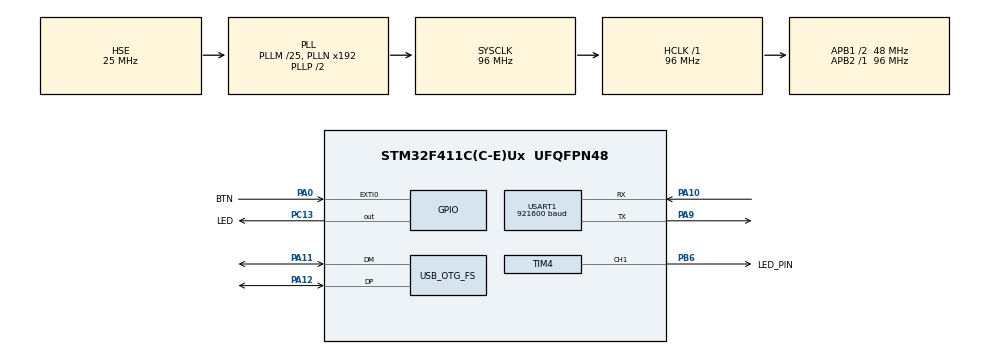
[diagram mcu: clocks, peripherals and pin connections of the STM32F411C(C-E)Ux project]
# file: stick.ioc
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Dma.Request0=TIM4_CH1
Dma.TIM4_CH1.0.Direction=DMA_MEMORY_TO_PERIPH
Dma.TIM4_CH1.0.FIFOMode=DMA_FIFOMODE_DISABLE
Dma.TIM4_CH1.0.Instance=DMA1_Stream0
Dma.TIM4_CH1.0.MemDataAlignment=DMA_MDATAALIGN_HALFWORD
Dma.TIM4_CH1.0.MemInc=DMA_MINC_ENABLE
Dma.TIM4_CH1.0.Mode=DMA_CIRCULAR
Dma.TIM4_CH1.0.PeriphDataAlignment=DMA_PDATAALIGN_HALFWORD
Dma.TIM4_CH1.0.PeriphInc=DMA_PINC_DISABLE
Dma.TIM4_CH1.0.Priority=DMA_PRIORITY_LOW
Mcu.Family=STM32F4
Mcu.Name=STM32F411C(C-E)Ux
Mcu.Package=UFQFPN48
Mcu.UserConstants=LED_CNT,120
NVIC.DMA1_Stream0_IRQn=true\:0\:0\:false\:false\:true\:false\:true\:true
NVIC.EXTI0_IRQn=true\:0\:0\:false\:false\:true\:true\:true\:true
NVIC.OTG_FS_IRQn=true\:0\:0\:false\:false\:true\:false\:true\:true
NVIC.PriorityGroup=NVIC_PRIORITYGROUP_4
PA0-WKUP.GPIO_Label=BTN
PA0-WKUP.GPIO_ModeDefaultEXTI=GPIO_MODE_IT_RISING_FALLING
PA0-WKUP.GPIO_PuPd=GPIO_PULLUP
PA0-WKUP.Signal=GPXTI0
PA10.Mode=Asynchronous
PA10.Signal=USART1_RX
PA11.Mode=Device_Only
PA11.Signal=USB_OTG_FS_DM
PA12.Mode=Device_Only
PA12.Signal=USB_OTG_FS_DP
PA13.Mode=Trace_Asynchronous_SW
PA13.Signal=SYS_JTMS-SWDIO
PA14.Mode=Trace_Asynchronous_SW
PA14.Signal=SYS_JTCK-SWCLK
PA9.Mode=Asynchronous
PA9.Signal=USART1_TX
PB3.Mode=Trace_Asynchronous_SW
PB3.Signal=SYS_JTDO-SWO
PB6.GPIO_Label=LED_PIN
PB6.Signal=S_TIM4_CH1
PC13-ANTI_TAMP.GPIO_Label=LED
PC13-ANTI_TAMP.Signal=GPIO_Output
PH0\ -\ OSC_IN.Mode=HSE-External-Oscillator
PH0\ -\ OSC_IN.Signal=RCC_OSC_IN
PH1\ -\ OSC_OUT.Mode=HSE-External-Oscillator
PH1\ -\ OSC_OUT.Signal=RCC_OSC_OUT
ProjectManager.HeapSize=0x200
ProjectManager.StackSize=0x400
ProjectManager.TargetToolchain=STM32CubeIDE
RCC.48MHZClocksFreq_Value=48000000
RCC.AHBFreq_Value=96000000
RCC.APB1CLKDivider=RCC_HCLK_DIV2
RCC.APB1Freq_Value=48000000
RCC.APB1TimFreq_Value=96000000
RCC.APB2Freq_Value=96000000
RCC.APB2TimFreq_Value=96000000
RCC.CortexFreq_Value=96000000
RCC.HCLKFreq_Value=96000000
RCC.HSE_VALUE=25000000
RCC.HSI_VALUE=16000000
RCC.LSE_VALUE=32768
RCC.PLLM=25
RCC.SYSCLKFreq_VALUE=96000000
RCC.SYSCLKSource=RCC_SYSCLKSOURCE_PLLCLK
RCC.VCOOutputFreq_Value=192000000
SH.S_TIM4_CH1.0=TIM4_CH1,PWM Generation1 CH1
TIM4.Channel-PWM\ Generation1\ CH1=TIM_CHANNEL_1
TIM4.Period=LED_CNT
USART1.BaudRate=921600
USART1.VirtualMode=VM_ASYNC
USB_DEVICE.CLASS_NAME_FS=HID
USB_DEVICE.MANUFACTURER_STRING=STM32World
USB_DEVICE.PRODUCT_STRING_HID_FS=Stick HID
USB_DEVICE.VirtualMode=Hid
USB_DEVICE.VirtualModeFS=Hid_FS
USB_OTG_FS.VirtualMode=Device_Only
VP_TIM4_VS_ClockSourceINT.Mode=Internal
VP_USB_DEVICE_VS_USB_DEVICE_HID_FS.Mode=HID_FS
board=custom

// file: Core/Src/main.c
/* USER CODE BEGIN Header */
/**
 ******************************************************************************
 * @file           : main.c
 * @brief          : Main program body
 ******************************************************************************
 * @attention
 *
 * Copyright (c) 2024 STMicroelectronics.
 * All rights reserved.
 *
 * This software is licensed under terms that can be found in the LICENSE file
 * in the root directory of this software component.
 * If no LICENSE file comes with this software, it is provided AS-IS.
 *
 ******************************************************************************
 */
/* USER CODE END Header */
#include "main.h"
#include "usb_device.h"

/* USER CODE BEGIN Includes */
#include "ws2812b.h"
/* USER CODE END Includes */

TIM_HandleTypeDef htim4;
DMA_HandleTypeDef hdma_tim4_ch1;

UART_HandleTypeDef huart1;

void SystemClock_Config(void);
static void MX_GPIO_Init(void);
static void MX_DMA_Init(void);
static void MX_TIM4_Init(void);
static void MX_USART1_UART_Init(void);

/* USER CODE BEGIN 0 */

// Send printf to uart1
int _write(int fd, char *ptr, int len) {
    HAL_StatusTypeDef hstatus;

    if (fd == 1 || fd == 2) {
        hstatus = HAL_UART_Transmit(&huart1, (uint8_t*) ptr, len, HAL_MAX_DELAY);
        if (hstatus == HAL_OK)
            return len;
        else
            return -1;
    }
    return -1;
}

void HAL_GPIO_EXTI_Callback(uint16_t GPIO_Pin) {

    static uint32_t btn_time = 0;
    static uint32_t btn_count = 0;

    uint32_t new_time = HAL_GetTick();
    uint32_t time_diff = new_time - btn_time;

    if (GPIO_Pin == BTN_Pin) {
        if (HAL_GPIO_ReadPin(BTN_GPIO_Port, BTN_Pin) == GPIO_PIN_RESET) {
            HAL_ResumeTick();
            DBG("Btn Press (released for %lu ms)\n", time_diff);
        } else {
            DBG("Btn Release (pressed for %lu ms)\n", time_diff);

        }

        btn_time = new_time;

    }
}

/* USER CODE END 0 */

int main(void)
{

  /* MCU Configuration--------------------------------------------------------*/

  /* Reset of all peripherals, Initializes the Flash interface and the Systick. */
  HAL_Init();

  /* Configure the system clock */
  SystemClock_Config();

  /* Initialize all configured peripherals */
  MX_GPIO_Init();
  MX_DMA_Init();
  MX_TIM4_Init();
  MX_USART1_UART_Init();
  MX_USB_DEVICE_Init();
  /* USER CODE BEGIN 2 */

    DBG("\n\n\n\n--------\nStarting\n");

    ws2812b_init(&htim4, TIM_CHANNEL_1, LEDS);
    zeroLedValues();

  /* USER CODE END 2 */

  /* Infinite loop */
  /* USER CODE BEGIN WHILE */

    uint32_t last_tick = 0, last_blink = 0, last_sleep = 0, now = 0;

    while (1) {

        now = HAL_GetTick();

        if (now - last_blink >= 500) {
            HAL_GPIO_TogglePin(LED_GPIO_Port, LED_Pin);
            last_blink = now;
        }

        if (now - last_tick >= 1000) {
            DBG("Tick %lu\n", now / 1000);
            last_tick = now;
        }

        if (now - last_sleep >= 10000) {
            DBG("Going to sleep\n");
            HAL_GPIO_WritePin(LED_GPIO_Port, LED_Pin, GPIO_PIN_SET);
            HAL_SuspendTick();
            //HAL_PWR_EnterSLEEPMode(PWR_MAINREGULATOR_ON, PWR_SLEEPENTRY_WFI);
            HAL_PWR_EnterSLEEPMode(PWR_LOWPOWERREGULATOR_ON, PWR_SLEEPENTRY_WFI);
            last_sleep = HAL_GetTick();
        }

    /* USER CODE END WHILE */

    }
}

void SystemClock_Config(void)
{
  RCC_OscInitTypeDef RCC_OscInitStruct = {0};
  RCC_ClkInitTypeDef RCC_ClkInitStruct = {0};

  /** Configure the main internal regulator output voltage
  */
  __HAL_RCC_PWR_CLK_ENABLE();
  __HAL_PWR_VOLTAGESCALING_CONFIG(PWR_REGULATOR_VOLTAGE_SCALE1);

  /** Initializes the RCC Oscillators according to the specified parameters
  * in the RCC_OscInitTypeDef structure.
  */
  RCC_OscInitStruct.OscillatorType = RCC_OSCILLATORTYPE_HSE;
  RCC_OscInitStruct.HSEState = RCC_HSE_ON;
  RCC_OscInitStruct.PLL.PLLState = RCC_PLL_ON;
  RCC_OscInitStruct.PLL.PLLSource = RCC_PLLSOURCE_HSE;
  RCC_OscInitStruct.PLL.PLLM = 25;
  RCC_OscInitStruct.PLL.PLLN = 192;
  RCC_OscInitStruct.PLL.PLLP = RCC_PLLP_DIV2;
  RCC_OscInitStruct.PLL.PLLQ = 4;
  if (HAL_RCC_OscConfig(&RCC_OscInitStruct) != HAL_OK)
  {
    Error_Handler();
  }

  /** Initializes the CPU, AHB and APB buses clocks
  */
  RCC_ClkInitStruct.ClockType = RCC_CLOCKTYPE_HCLK|RCC_CLOCKTYPE_SYSCLK
                              |RCC_CLOCKTYPE_PCLK1|RCC_CLOCKTYPE_PCLK2;
  RCC_ClkInitStruct.SYSCLKSource = RCC_SYSCLKSOURCE_PLLCLK;
  RCC_ClkInitStruct.AHBCLKDivider = RCC_SYSCLK_DIV1;
  RCC_ClkInitStruct.APB1CLKDivider = RCC_HCLK_DIV2;
  RCC_ClkInitStruct.APB2CLKDivider = RCC_HCLK_DIV1;

  if (HAL_RCC_ClockConfig(&RCC_ClkInitStruct, FLASH_LATENCY_3) != HAL_OK)
  {
    Error_Handler();
  }
}

static void MX_TIM4_Init(void)
{

  TIM_ClockConfigTypeDef sClockSourceConfig = {0};
  TIM_MasterConfigTypeDef sMasterConfig = {0};
  TIM_OC_InitTypeDef sConfigOC = {0};

  htim4.Instance = TIM4;
  htim4.Init.Prescaler = 0;
  htim4.Init.CounterMode = TIM_COUNTERMODE_UP;
  htim4.Init.Period = LED_CNT;
  htim4.Init.ClockDivision = TIM_CLOCKDIVISION_DIV1;
  htim4.Init.AutoReloadPreload = TIM_AUTORELOAD_PRELOAD_DISABLE;
  if (HAL_TIM_Base_Init(&htim4) != HAL_OK)
  {
    Error_Handler();
  }
  sClockSourceConfig.ClockSource = TIM_CLOCKSOURCE_INTERNAL;
  if (HAL_TIM_ConfigClockSource(&htim4, &sClockSourceConfig) != HAL_OK)
  {
    Error_Handler();
  }
  if (HAL_TIM_PWM_Init(&htim4) != HAL_OK)
  {
    Error_Handler();
  }
  sMasterConfig.MasterOutputTrigger = TIM_TRGO_RESET;
  sMasterConfig.MasterSlaveMode = TIM_MASTERSLAVEMODE_DISABLE;
  if (HAL_TIMEx_MasterConfigSynchronization(&htim4, &sMasterConfig) != HAL_OK)
  {
    Error_Handler();
  }
  sConfigOC.OCMode = TIM_OCMODE_PWM1;
  sConfigOC.Pulse = 0;
  sConfigOC.OCPolarity = TIM_OCPOLARITY_HIGH;
  sConfigOC.OCFastMode = TIM_OCFAST_DISABLE;
  if (HAL_TIM_PWM_ConfigChannel(&htim4, &sConfigOC, TIM_CHANNEL_1) != HAL_OK)
  {
    Error_Handler();
  }
  HAL_TIM_MspPostInit(&htim4);

}

static void MX_USART1_UART_Init(void)
{

  huart1.Instance = USART1;
  huart1.Init.BaudRate = 921600;
  huart1.Init.WordLength = UART_WORDLENGTH_8B;
  huart1.Init.StopBits = UART_STOPBITS_1;
  huart1.Init.Parity = UART_PARITY_NONE;
  huart1.Init.Mode = UART_MODE_TX_RX;
  huart1.Init.HwFlowCtl = UART_HWCONTROL_NONE;
  huart1.Init.OverSampling = UART_OVERSAMPLING_16;
  if (HAL_UART_Init(&huart1) != HAL_OK)
  {
    Error_Handler();
  }

}

static void MX_DMA_Init(void)
{

  /* DMA controller clock enable */
  __HAL_RCC_DMA1_CLK_ENABLE();

  /* DMA interrupt init */
  /* DMA1_Stream0_IRQn interrupt configuration */
  HAL_NVIC_SetPriority(DMA1_Stream0_IRQn, 0, 0);
  HAL_NVIC_EnableIRQ(DMA1_Stream0_IRQn);

}

static void MX_GPIO_Init(void)
{
  GPIO_InitTypeDef GPIO_InitStruct = {0};

  /* GPIO Ports Clock Enable */
  __HAL_RCC_GPIOC_CLK_ENABLE();
  __HAL_RCC_GPIOH_CLK_ENABLE();
  __HAL_RCC_GPIOA_CLK_ENABLE();
  __HAL_RCC_GPIOB_CLK_ENABLE();

  /*Configure GPIO pin Output Level */
  HAL_GPIO_WritePin(LED_GPIO_Port, LED_Pin, GPIO_PIN_RESET);

  /*Configure GPIO pin : LED_Pin */
  GPIO_InitStruct.Pin = LED_Pin;
  GPIO_InitStruct.Mode = GPIO_MODE_OUTPUT_PP;
  GPIO_InitStruct.Pull = GPIO_NOPULL;
  GPIO_InitStruct.Speed = GPIO_SPEED_FREQ_LOW;
  HAL_GPIO_Init(LED_GPIO_Port, &GPIO_InitStruct);

  /*Configure GPIO pin : BTN_Pin */
  GPIO_InitStruct.Pin = BTN_Pin;
  GPIO_InitStruct.Mode = GPIO_MODE_IT_RISING_FALLING;
  GPIO_InitStruct.Pull = GPIO_PULLUP;
  HAL_GPIO_Init(BTN_GPIO_Port, &GPIO_InitStruct);

  /* EXTI interrupt init*/
  HAL_NVIC_SetPriority(EXTI0_IRQn, 0, 0);
  HAL_NVIC_EnableIRQ(EXTI0_IRQn);

}

void Error_Handler(void)
{
    __disable_irq();
    while (1) {
    }
}
